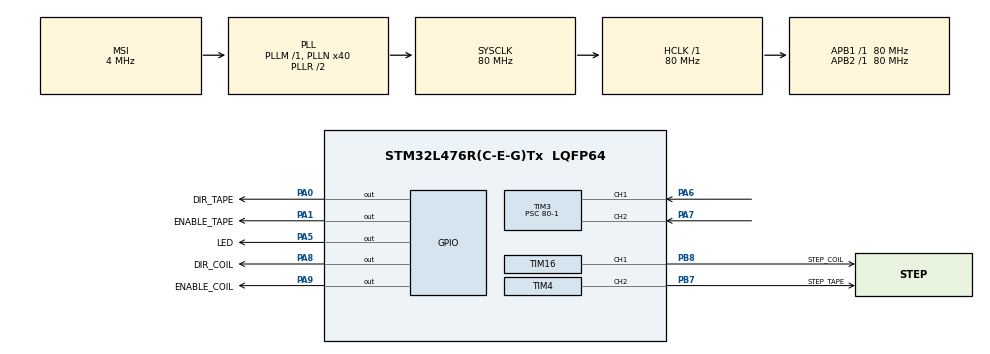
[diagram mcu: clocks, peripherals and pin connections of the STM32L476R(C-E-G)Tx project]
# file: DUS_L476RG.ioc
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Mcu.Family=STM32L4
Mcu.Name=STM32L476R(C-E-G)Tx
Mcu.Package=LQFP64
NVIC.PriorityGroup=NVIC_PRIORITYGROUP_2
NVIC.TIM1_UP_TIM16_IRQn=true\:1\:1\:true\:false\:true\:true\:true\:true
NVIC.TIM2_IRQn=true\:1\:1\:true\:false\:true\:true\:true\:true
NVIC.TIM3_IRQn=true\:1\:1\:true\:false\:true\:true\:true\:true
NVIC.TIM4_IRQn=true\:1\:1\:true\:false\:true\:true\:true\:true
PA0.GPIO_Label=DIR_TAPE
PA0.Signal=GPIO_Output
PA1.GPIO_Label=ENABLE_TAPE
PA1.Signal=GPIO_Output
PA5.GPIO_Label=LED
PA5.Signal=GPIO_Output
PA6.Signal=S_TIM3_CH1
PA7.Signal=S_TIM3_CH2
PA8.GPIO_Label=DIR_COIL
PA8.Signal=GPIO_Output
PA9.GPIO_Label=ENABLE_COIL
PA9.Signal=GPIO_Output
PB7.GPIO_Label=STEP_TAPE
PB7.Signal=S_TIM4_CH2
PB8.GPIO_Label=STEP_COIL
PB8.Signal=S_TIM16_CH1
ProjectManager.HeapSize=0x200
ProjectManager.StackSize=0x400
ProjectManager.TargetToolchain=EWARM V8.32
RCC.ADCFreq_Value=64000000
RCC.AHBFreq_Value=80000000
RCC.APB1Freq_Value=80000000
RCC.APB1TimFreq_Value=80000000
RCC.APB2Freq_Value=80000000
RCC.APB2TimFreq_Value=80000000
RCC.CortexFreq_Value=80000000
RCC.HCLKFreq_Value=80000000
RCC.HSE_VALUE=8000000
RCC.HSI_VALUE=16000000
RCC.LSE_VALUE=32768
RCC.MSI_VALUE=4000000
RCC.PLLN=10
RCC.PLLSourceVirtual=RCC_PLLSOURCE_HSI
RCC.PREFETCH_ENABLE=1
RCC.SYSCLKFreq_VALUE=80000000
RCC.SYSCLKSource=RCC_SYSCLKSOURCE_PLLCLK
RCC.USBFreq_Value=64000000
RCC.VCOOutputFreq_Value=160000000
SH.S_TIM16_CH1.0=TIM16_CH1,PWM Generation1 CH1
SH.S_TIM3_CH1.0=TIM3_CH1,Encoder_Interface
SH.S_TIM3_CH2.0=TIM3_CH2,Encoder_Interface
SH.S_TIM4_CH2.0=TIM4_CH2,PWM Generation2 CH2
TIM16.Channel=TIM_CHANNEL_1
TIM16.Prescaler=80-1
TIM3.Period=1000
TIM3.Prescaler=80-1
TIM4.Channel-PWM\ Generation2\ CH2=TIM_CHANNEL_2
TIM4.Prescaler=80-1
VP_TIM16_VS_ClockSourceINT.Mode=Enable_Timer
VP_TIM2_VS_ClockSourceINT.Mode=Internal
board=NUCLEO-L476RG

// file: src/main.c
/* USER CODE BEGIN Header */
/**
 ******************************************************************************
 * @file           : main.c
 * @brief          : Main program body
 ******************************************************************************
 * @attention
 *
 * <h2><center>&copy; Copyright (c) 2021 STMicroelectronics.
 * All rights reserved.</center></h2>
 *
 * This software component is licensed by ST under BSD 3-Clause license,
 * the "License"; You may not use this file except in compliance with the
 * License. You may obtain a copy of the License at:
 *                        opensource.org/licenses/BSD-3-Clause
 *
 ******************************************************************************
 */
/* USER CODE END Header */
#include "main.h"
#include "gpio.h"
#include "tim.h"

/* USER CODE BEGIN Includes */
#include "luos_engine.h"
#include "serial_network.h"
#include "galvo.h"
#include "laser.h"
#include "motor.h"
/* USER CODE END Includes */

void SystemClock_Config(void);

int main(void)
{

    /* MCU Configuration--------------------------------------------------------*/

    /* Reset of all peripherals, Initializes the Flash interface and the Systick. */
    HAL_Init();

    /* Configure the system clock */
    SystemClock_Config();

    /* Initialize all configured peripherals */
    MX_GPIO_Init();
    MX_TIM2_Init();
    MX_TIM4_Init();
    MX_TIM16_Init();
    MX_TIM3_Init();
    /* USER CODE BEGIN 2 */
    Luos_Init();
    Serial_Init();
    Galvo_Init();
    Laser_Init();
    Stepper_Init();
    /* USER CODE END 2 */

    /* Infinite loop */
    while (1)
    {

        /* USER CODE BEGIN 3 */
        Luos_Loop();
        Serial_Loop();
        Galvo_Loop();
        Laser_Loop();
        Stepper_Loop();
    }
    /* USER CODE END 3 */
}

void SystemClock_Config(void)
{
    RCC_OscInitTypeDef RCC_OscInitStruct = {0};
    RCC_ClkInitTypeDef RCC_ClkInitStruct = {0};

    /** Initializes the RCC Oscillators according to the specified parameters
     * in the RCC_OscInitTypeDef structure.
     */
    RCC_OscInitStruct.OscillatorType      = RCC_OSCILLATORTYPE_MSI;
    RCC_OscInitStruct.MSIState            = RCC_MSI_ON;
    RCC_OscInitStruct.MSICalibrationValue = 0;
    RCC_OscInitStruct.MSIClockRange       = RCC_MSIRANGE_6;
    RCC_OscInitStruct.PLL.PLLState        = RCC_PLL_ON;
    RCC_OscInitStruct.PLL.PLLSource       = RCC_PLLSOURCE_MSI;
    RCC_OscInitStruct.PLL.PLLM            = 1;
    RCC_OscInitStruct.PLL.PLLN            = 40;
    RCC_OscInitStruct.PLL.PLLP            = RCC_PLLP_DIV7;
    RCC_OscInitStruct.PLL.PLLQ            = RCC_PLLQ_DIV2;
    RCC_OscInitStruct.PLL.PLLR            = RCC_PLLR_DIV2;
    if (HAL_RCC_OscConfig(&RCC_OscInitStruct) != HAL_OK)
    {
        Error_Handler();
    }
    /** Initializes the CPU, AHB and APB buses clocks
     */
    RCC_ClkInitStruct.ClockType = RCC_CLOCKTYPE_HCLK | RCC_CLOCKTYPE_SYSCLK
                                  | RCC_CLOCKTYPE_PCLK1 | RCC_CLOCKTYPE_PCLK2;
    RCC_ClkInitStruct.SYSCLKSource   = RCC_SYSCLKSOURCE_PLLCLK;
    RCC_ClkInitStruct.AHBCLKDivider  = RCC_SYSCLK_DIV1;
    RCC_ClkInitStruct.APB1CLKDivider = RCC_HCLK_DIV1;
    RCC_ClkInitStruct.APB2CLKDivider = RCC_HCLK_DIV1;

    if (HAL_RCC_ClockConfig(&RCC_ClkInitStruct, FLASH_LATENCY_4) != HAL_OK)
    {
        Error_Handler();
    }
    /** Configure the main internal regulator output voltage
     */
    if (HAL_PWREx_ControlVoltageScaling(PWR_REGULATOR_VOLTAGE_SCALE1) != HAL_OK)
    {
        Error_Handler();
    }
}

/* USER CODE BEGIN 4 */
void HAL_TIM_PeriodElapsedCallback(TIM_HandleTypeDef *htim)
{
    LaserPeriod_Callback(htim);
    StepperPeriod_Callback(htim);
}
/* USER CODE END 4 */

void Error_Handler(void)
{
    __disable_irq();
    while (1)
    {
    }
}

/************************ (C) COPYRIGHT STMicroelectronics *****END OF FILE****/
